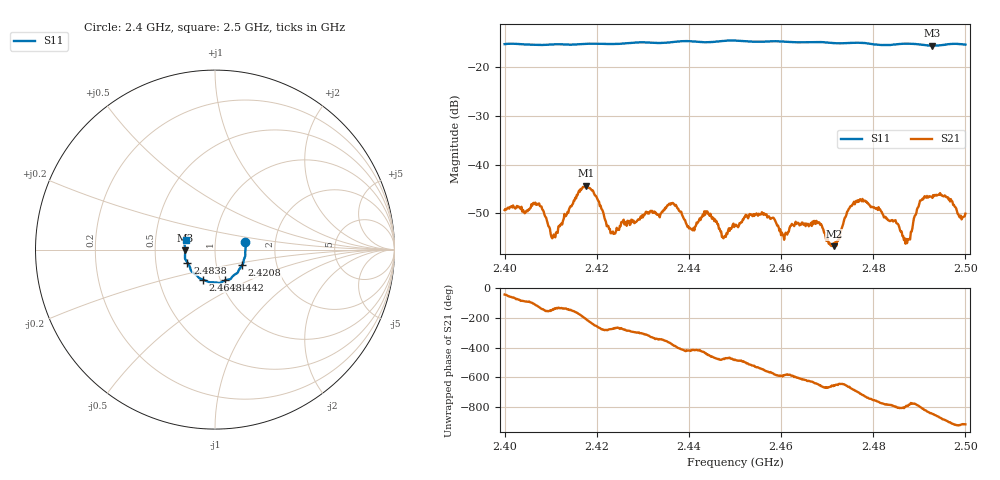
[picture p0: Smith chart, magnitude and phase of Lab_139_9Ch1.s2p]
# Hz S RI R 50
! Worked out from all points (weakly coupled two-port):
!   601 points, 2.4 GHz to 2.5 GHz, reference 50 ohm
!   highest |S21| = -44.34 dB at 2.4177 GHz (marker M1); lowest = -56.8 dB at 2.4715 GHz (marker M2)
!   lowest |S11| = -15.6 dB at 2.4928 GHz (marker M3), VSWR 1.40, Z = 35.8 - j0.356 ohm
!   |S11| at or under -10 dB: start of sweep to end of sweep
!   S12 and S22 are empty: the file has one direction only
!   S11 on the Smith chart (normalised r, x): 2.4 GHz: 1.40, +0.12; 2.4208 GHz: 1.33, -0.24; 2.4442 GHz: 1.05, -0.37; 2.4648 GHz: 0.83, -0.29; 2.4838 GHz: 0.73, -0.11; 2.5 GHz: 0.72, +0.08
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2.4e9  0.1676 0.0412  0.00248 -0.00235  0 0  0 0
2.4075e9  0.1689 -0.0132  -0.00239 -0.00319  0 0  0 0
2.4105e9  0.1691 -0.0304  -0.00139 -0.00112  0 0  0 0
2.416667e9  0.159 -0.0681  -0.00553 0.000474  0 0  0 0
2.417667e9  0.1572 -0.0742  -0.00537 0.00282  0 0  0 0
2.420833e9  0.1506 -0.087  0.000102 0.00379  0 0  0 0
2.4235e9  0.1416 -0.0996  0.000118 0.00205  0 0  0 0
2.433333e9  0.108 -0.1404  0.00297 0.000793  0 0  0 0
2.440667e9  0.079 -0.1663  0.00123 -0.00175  0 0  0 0
2.444167e9  0.0567 -0.1713  1.05e-05 -0.00311  0 0  0 0
2.4475e9  0.035 -0.1828  -0.000713 -0.0016  0 0  0 0
2.45e9  0.0246 -0.1862  -0.00121 -0.00205  0 0  0 0
2.464833e9  -0.0684 -0.1667  -0.000652 0.00234  0 0  0 0
2.466667e9  -0.0799 -0.1628  -9.02e-05 0.00234  0 0  0 0
2.4715e9  -0.0992 -0.1462  0.000532 0.00135  0 0  0 0
2.476667e9  -0.1304 -0.1216  0.00401 0.00158  0 0  0 0
2.483333e9  -0.1506 -0.0762  0.00118 -0.00241  0 0  0 0
2.483833e9  -0.1534 -0.072  0.00117 -0.00239  0 0  0 0
2.4875e9  -0.1669 -0.0502  0.000506 -0.00164  0 0  0 0
2.490167e9  -0.1674 -0.0342  0.000899 -0.00418  0 0  0 0
2.492833e9  -0.166 -0.00485  -0.00255 -0.00376  0 0  0 0
2.5e9  -0.1623 0.053  -0.00303 0.000789  0 0  0 0
